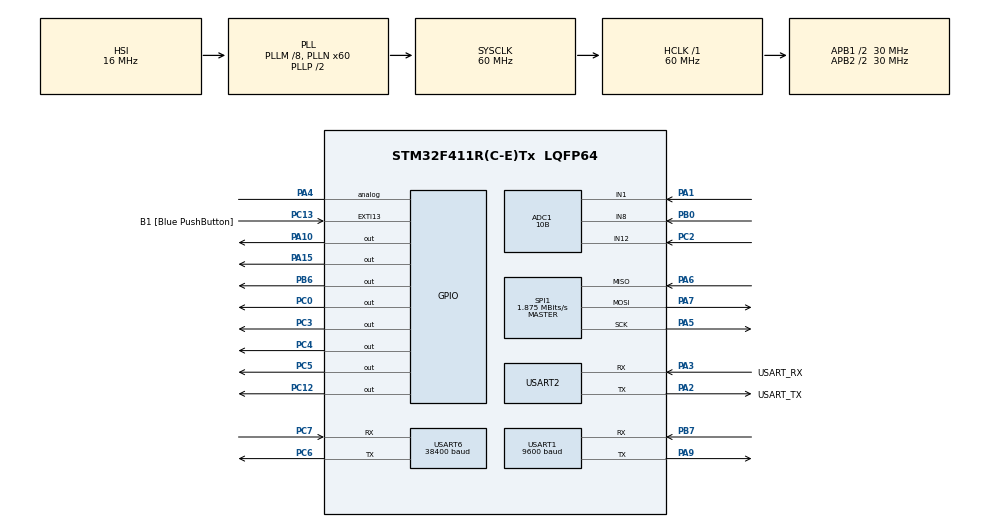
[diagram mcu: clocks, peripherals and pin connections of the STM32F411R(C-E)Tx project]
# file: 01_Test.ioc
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ADC1.Channel-1\#ChannelRegularConversion=ADC_CHANNEL_1
ADC1.NbrOfConversionFlag=1
ADC1.Rank-1\#ChannelRegularConversion=1
ADC1.Resolution=ADC_RESOLUTION_10B
ADC1.SamplingTime-1\#ChannelRegularConversion=ADC_SAMPLETIME_3CYCLES
ADC1.master=1
Mcu.Family=STM32F4
Mcu.Name=STM32F411R(C-E)Tx
Mcu.Package=LQFP64
NVIC.PriorityGroup=NVIC_PRIORITYGROUP_4
NVIC.RTC_WKUP_IRQn=true\:0\:0\:false\:false\:true\:true\:true\:true
NVIC.TIM1_UP_TIM10_IRQn=true\:0\:0\:false\:false\:true\:true\:true\:true
NVIC.TIM5_IRQn=true\:15\:0\:false\:false\:true\:false\:true\:true
NVIC.TimeBase=TIM5_IRQn
NVIC.TimeBaseIP=TIM5
NVIC.USART6_IRQn=true\:0\:0\:true\:false\:true\:true\:true\:true
PA0-WKUP.Signal=ADCx_IN0
PA1.Signal=ADCx_IN1
PA10.GPIO_PuPd=GPIO_PULLUP
PA10.PinState=GPIO_PIN_RESET
PA10.Signal=GPIO_Output
PA13.GPIO_Label=TMS
PA13.Signal=SYS_JTMS-SWDIO
PA14.GPIO_Label=TCK
PA14.Signal=SYS_JTCK-SWCLK
PA15.GPIO_PuPd=GPIO_PULLUP
PA15.PinState=GPIO_PIN_SET
PA15.Signal=GPIO_Output
PA2.GPIO_Label=USART_TX
PA2.Mode=Asynchronous
PA2.Signal=USART2_TX
PA3.GPIO_Label=USART_RX
PA3.Mode=Asynchronous
PA3.Signal=USART2_RX
PA4.Signal=GPIO_Analog
PA5.Mode=Full_Duplex_Master
PA5.Signal=SPI1_SCK
PA6.Mode=Full_Duplex_Master
PA6.Signal=SPI1_MISO
PA7.Mode=Full_Duplex_Master
PA7.Signal=SPI1_MOSI
PA9.Mode=Asynchronous
PA9.Signal=USART1_TX
PB0.Signal=ADCx_IN8
PB3.GPIO_Label=SWO
PB3.Signal=SYS_JTDO-SWO
PB6.Signal=GPIO_Output
PB7.Mode=Asynchronous
PB7.Signal=USART1_RX
PC0.GPIO_PuPd=GPIO_PULLUP
PC0.PinState=GPIO_PIN_SET
PC0.Signal=GPIO_Output
PC12.Signal=GPIO_Output
PC13-ANTI_TAMP.GPIO_Label=B1 [Blue PushButton]
PC13-ANTI_TAMP.GPIO_ModeDefaultEXTI=GPIO_MODE_IT_FALLING
PC13-ANTI_TAMP.Signal=GPXTI13
PC14-OSC32_IN.Mode=LSE-External-Oscillator
PC14-OSC32_IN.Signal=RCC_OSC32_IN
PC15-OSC32_OUT.Mode=LSE-External-Oscillator
PC15-OSC32_OUT.Signal=RCC_OSC32_OUT
PC2.Signal=ADCx_IN12
PC3.GPIO_PuPd=GPIO_PULLUP
PC3.PinState=GPIO_PIN_SET
PC3.Signal=GPIO_Output
PC4.GPIO_PuPd=GPIO_PULLUP
PC4.PinState=GPIO_PIN_RESET
PC4.Signal=GPIO_Output
PC5.GPIO_PuPd=GPIO_PULLUP
PC5.Signal=GPIO_Output
PC6.Mode=Asynchronous
PC6.Signal=USART6_TX
PC7.Mode=Asynchronous
PC7.Signal=USART6_RX
PH0\ -\ OSC_IN.Signal=RCC_OSC_IN
PH1\ -\ OSC_OUT.Signal=RCC_OSC_OUT
ProjectManager.HeapSize=0x200
ProjectManager.StackSize=0x400
ProjectManager.TargetToolchain=STM32CubeIDE
RCC.48MHZClocksFreq_Value=30000000
RCC.AHBFreq_Value=60000000
RCC.APB1CLKDivider=RCC_HCLK_DIV2
RCC.APB1Freq_Value=30000000
RCC.APB1TimFreq_Value=60000000
RCC.APB2CLKDivider=RCC_HCLK_DIV2
RCC.APB2Freq_Value=30000000
RCC.APB2TimFreq_Value=60000000
RCC.CortexFreq_Value=60000000
RCC.FLatency-AdvancedSettings=FLASH_LATENCY_1
RCC.HCLKFreq_Value=60000000
RCC.HSE_VALUE=8000000
RCC.HSI_VALUE=16000000
RCC.PLLM=8
RCC.PLLN=60
RCC.RCC_RTC_Clock_Source=RCC_RTCCLKSOURCE_LSE
RCC.RCC_RTC_Clock_SourceVirtual=RCC_RTCCLKSOURCE_LSE
RCC.SYSCLKFreq_VALUE=60000000
RCC.SYSCLKSource=RCC_SYSCLKSOURCE_PLLCLK
RCC.VCOOutputFreq_Value=120000000
RTC.Date=19
RTC.Hours=12
RTC.Minutes=1
RTC.Month=RTC_MONTH_JUNE
RTC.WakeUpClock=RTC_WAKEUPCLOCK_CK_SPRE_16BITS
RTC.WakeUpCounter=20
RTC.WeekDay=RTC_WEEKDAY_WEDNESDAY
RTC.Year=25
SH.ADCx_IN0.0=ADC1_IN0
SH.ADCx_IN1.0=ADC1_IN1,IN1
SH.ADCx_IN12.0=ADC1_IN12,IN12
SH.ADCx_IN8.0=ADC1_IN8,IN8
SPI1.BaudRatePrescaler=SPI_BAUDRATEPRESCALER_16
SPI1.CalculateBaudRate=1.875 MBits/s
SPI1.Direction=SPI_DIRECTION_2LINES
SPI1.Mode=SPI_MODE_MASTER
SPI1.VirtualType=VM_MASTER
TIM1.Period=2000-1
TIM1.Prescaler=60000
TIM1.TIM_MasterOutputTrigger=TIM_TRGO_UPDATE
TIM2.Period=0xffff
TIM2.Prescaler=60-1
USART1.BaudRate=9600
USART1.VirtualMode=VM_ASYNC
USART2.VirtualMode=VM_ASYNC
USART6.BaudRate=38400
USART6.VirtualMode=VM_ASYNC
VP_FATFS_VS_Generic.Mode=User_defined
VP_RTC_VS_RTC_Activate.Mode=RTC_Enabled
VP_RTC_VS_RTC_WakeUp_intern.Mode=WakeUp
VP_SYS_VS_tim5.Mode=TIM5
VP_TIM1_VS_ClockSourceINT.Mode=Internal
VP_TIM2_VS_ClockSourceINT.Mode=Internal
board=NUCLEO-F411RE

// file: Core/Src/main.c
/* USER CODE BEGIN Header */
	/**
	  ******************************************************************************
	  * @file           : main.c
	  * @brief          : Main program body
	  ******************************************************************************
	  * @attention
	  *
	  * Copyright (c) 2025 STMicroelectronics.
	  * All rights reserved.
	  *
	  * This software is licensed under terms that can be found in the LICENSE file
	  * in the root directory of this software component.
	  * If no LICENSE file comes with this software, it is provided AS-IS.
	  *
	  *
	  *
	  ******************************************************************************
	  */
/* USER CODE END Header */
#include "main.h"
#include "fatfs.h"

/* USER CODE BEGIN Includes */
	#include "FreeRTOS.h"
	#include "task.h"
	#include "event_groups.h"
	#include "queue.h"
	#include "semphr.h"
	#include "timers.h"

	#include "ds18b20.h"
	#include "File_Handling_RTOS.h"

	/* C Standard Libraries */
	#include <stdio.h>
	#include <string.h>
	#include <stdbool.h>
	#include <stdint.h>
	#include <inttypes.h>
	#include <math.h>
	#include <time.h>
	#include <stdlib.h>

	extern ADC_HandleTypeDef hadc1;
	extern UART_HandleTypeDef huart2;
	extern UART_HandleTypeDef huart1;
/* USER CODE END Includes */

/* USER CODE BEGIN PD */
	#define UART_BUFFER_SIZE 64  // Adjust based on expected UART message length
	#define DEFAULT_SLEEP_TIME 30  // seconds — TODO: change to 1 hour (3600) before deployment

	#define PUMP1        			GPIOC, GPIO_PIN_3
	#define PUMP3       			GPIOA, GPIO_PIN_15
	#define PUMP2         			GPIOC, GPIO_PIN_0
	#define pH_POWER     			GPIOC, GPIO_PIN_4
	#define Temp_POWER      		GPIOC, GPIO_PIN_5

	#define EA_RELAY_GPIO           GPIOC, GPIO_PIN_12

	#define PUMP1_DURATION     		45000
	#define SENSOR_ON_DURATION_MS   3000
	#define PUMP2_DURATION     		45000
	#define PUMP3_DURATION        	5000

	#define BKP_REG_SYNC_FLAG RTC_BKP_DR1
	#define RTC_SYNC_MAGIC    0x32F2  // Arbitrary unique value

	#define MAX_RETRIES 5
	#define ACK_TIMEOUT_MS 60000  // 1 minute
	#define ACK_BUFFER_SIZE 100

	// EA Threshold Levels (can be tuned or loaded from config later)
	#define LEVEL_0 1000
	#define LEVEL_1 2000
	#define LEVEL_2 3000
	#define LEVEL_3 4000
	#define LEVEL_4 5000
	#define LEVEL_5 6000

	#define ACK_TIMEOUT_MS 60000  // 1 minute

	#define MAX_READINGS 3
	typedef struct {

	    char timestamp[25];   // ISO string
	    float temp;
	    float ph;
	    float do_val;
	    int batt;
	    uint8_t index;
	} SensorReading;

/* USER CODE END PD */

ADC_HandleTypeDef hadc1;

RTC_HandleTypeDef hrtc;

SPI_HandleTypeDef hspi1;

TIM_HandleTypeDef htim1;
TIM_HandleTypeDef htim2;

UART_HandleTypeDef huart1;
UART_HandleTypeDef huart2;
UART_HandleTypeDef huart6;

/* USER CODE BEGIN PV */
	/* RTOS Task Handles */
	TaskHandle_t xMainTask;
	TaskHandle_t RcvTask;
	TaskHandle_t xBoot;
	TaskHandle_t xTX_Task;
	/* RTOS Synchronization Objects */

	SemaphoreHandle_t xLowPowerSemaphore;
	SemaphoreHandle_t xRtcUpdateSemaphore;
	SemaphoreHandle_t xAckSemaphore;
	SemaphoreHandle_t xMainTaskSemaphore;
	/* Sensor Data (Raw + Processed) */
	uint32_t adc_raw_ph = 0, adc_raw_do = 0;
	uint32_t ph_v = 0, ph_cv = 0;
	uint32_t do_v = 0, do_cv = 0;

	float temp = 0.0f;
	float ph_scaled = 0.0f, do_scaled = 0.0f;

	/* Battery Monitoring */
	uint16_t Batt_raw = 0;

	/* Sleep Time (EA behavior control) */
	uint16_t sleep_time = DEFAULT_SLEEP_TIME;

	/* EA Threshold Levels (can be tuned or loaded from config later) */
	int16_t Level_0 = 1000, Level_1 = 2000, Level_2 = 3000;
	int16_t Level_3 = 4000, Level_4 = 5000, Level_5 = 6000;

	/* UART RX Variables */
	char gps_buffer[256] = {0};  // Buffer for GPS data
	char uart_rx_buffer[UART_BUFFER_SIZE] = {0};
	char uart_rx_char = 0;
	uint16_t uart_rx_index = 0;
	uint8_t newline_count = 0;
	char uart_buf[128] = {0};  // General TX buffer (printf, debug)
	volatile bool uartWakeupFlag = false;

	uint32_t Read_ADC_Channel(uint32_t channel);
	bool ack_received = false;

	int sleep_lvl = 0; // Sleep level for EA behavior control

	SensorReading readings[6] = {0};  // Array to hold sensor readings
	uint16_t reading_ids[6];  // Parallel array to track global_id per reading
	uint8_t current_index = 0;  // increments after each set
	uint16_t global_id = 0;
	uint8_t resend_indexes[6] = {0};

	volatile bool resend_requested = false;
	volatile uint8_t tx_type_override = 0;  // 0 = type:0 (normal), 3 = type:3 (resend)
/* USER CODE END PV */

void SystemClock_Config(void);
static void MX_GPIO_Init(void);
static void MX_ADC1_Init(void);
static void MX_RTC_Init(void);
static void MX_USART2_UART_Init(void);
static void MX_TIM2_Init(void);
static void MX_TIM1_Init(void);
static void MX_SPI1_Init(void);
static void MX_USART6_UART_Init(void);
static void MX_USART1_UART_Init(void);
/* USER CODE BEGIN PFP */
	static void ParseGPSAndSetRTC(void);
	static void MainTask_handle(void*parameters);
	static void Receive_Task(void* parameters);
	static void BootTask(void *params);
	static void get_timestamp(char* buffer);
	static void PrintGPSTimeFormatted(void);
//	static void WaitForACKOrRetry(void);

/* USER CODE END PFP */

/* USER CODE BEGIN 0 */
	void MainTask_handle(void*parameters)
	{
		while(1)
		{
			if (xSemaphoreTake(xMainTaskSemaphore, portMAX_DELAY) == pdTRUE)
			{
//				// Reset the semaphore for next use
//				xSemaphoreTake(xMainTaskSemaphore, 0);
//
//				// Initialize variables
//				uint32_t Batt_raw = 0;
//				uint16_t sleep_time = DEFAULT_SLEEP_TIME;
//
//				// Initialize readings array
//				memset(readings, 0, sizeof(readings));
//				memset(reading_ids, 0, sizeof(reading_ids));
//				current_index = 0;
//				global_id = 0;

					// Print start message
				printf("Program Start \n");

				//Turn Pin LOW PC12  | EA GPIO RELAY MODULE
				HAL_GPIO_WritePin(EA_RELAY_GPIO , GPIO_PIN_RESET);  // PC12: LOW
				vTaskDelay(pdMS_TO_TICKS(200));

				//READ BATTERY LEVEL
				//Batt_raw = Read_ADC_Channel(ADC_CHANNEL_0); //TODO CHANGE
				Batt_raw = 2000;
				HAL_GPIO_WritePin(EA_RELAY_GPIO , GPIO_PIN_SET);

				//INSERT TABLE BELOW
				if (Batt_raw < Level_0 )// 0-10%
				{
					printf("Battery Level: 0-10%%\n");
					//todo UART Transmit Low battery %d Batt_raw
					sleep_time = 30; // 30 seconds in seconds

					//HAL_UART_Transmit(&huart6, (uint8_t *)"Low Battery Detected, Entering Low Power Mode\n", 44, HAL_MAX_DELAY);
					xSemaphoreGive(xLowPowerSemaphore); // Signal low power mode
					vTaskDelay(pdMS_TO_TICKS(10000)); // Delay to allow Task Block to low power mode.
				}
				else {

					if (Batt_raw < Level_1) {// 10-20%
						sleep_time = 60; // 6 hours in seconds
						printf("Battery Level: 10-20%%\n");
						//todo SET SLEEP_TIME to 6 hours
					}else if (Batt_raw < Level_2) {
						//set wakeup timer to Every 4 hours
						sleep_time = 14400; // 4 hours in seconds
						printf("Battery Level: 20-30%%\n");

					}else if (Batt_raw < Level_3) {
						//set wakeup timer to Every 2 hours
						sleep_time = 7200; // 2 hours in seconds
						printf("Battery Level: 30-40%%\n");

					}else if (Batt_raw < Level_4) {
						//set wakeup timer to Every 1 hour
						sleep_time = 3600; // 1 hour in seconds
						printf("Battery Level: 40-50%%\n");

					}

					// Turn everything ON
					printf("PUMP ON\n");
					HAL_GPIO_WritePin(PUMP1, GPIO_PIN_RESET);  // PC3: Pump ON

					//vTaskDelay(pdMS_TO_TICKS(PUMP1_DURATION ));  // 90 seconds delay while ON //todo time
					vTaskDelay(pdMS_TO_TICKS(1000 ));

					// Turn Pump OFF
					printf("PUMP OFF, SENSORS ON\n");
					HAL_GPIO_WritePin(PUMP1, GPIO_PIN_SET);  // PC3 Pump OFF

					HAL_GPIO_WritePin(pH_POWER, GPIO_PIN_SET);   // PC4: Sensor ON
					HAL_GPIO_WritePin(Temp_POWER, GPIO_PIN_SET);   // PC5: Sensor ON
					vTaskDelay(pdMS_TO_TICKS(1000));  // 60 seconds delay while pump is OFF //todo time

					// Read Sensors
					printf("GETTING DATA\n");

					for (int i = 0; i < MAX_READINGS; i++) {
					    SensorReading r;

					    get_timestamp(r.timestamp); // Your timestamp function
					    r.temp = Temperature_Read();
					    r.ph = Read_ADC_Channel(ADC_CHANNEL_8)/100; //todo
					    r.do_val = Read_ADC_Channel(ADC_CHANNEL_1)/100; //todo
					    r.batt = 80; //todo
					    r.index = i + 1; // Index starts from 1

					    readings[i] = r;
					    reading_ids[i] = global_id++;

					    snprintf(uart_buf, sizeof(uart_buf),
					             "type:0,id:%04d,time:%s,temp:%.2f,ph:%.2f,do:%05.2f,batt:%02d,ind:%d\r\n",
					             reading_ids[i], r.timestamp, r.temp, r.ph, r.do_val, r.batt, r.index);

					    Mount_SD("/");
					    Update_File("LOGS.TXT", uart_buf);
					    Unmount_SD("/");

					    vTaskDelay(pdMS_TO_TICKS(1000));
					}
					xTaskNotifyGive(xTX_Task);

					printf("SENSORS OFF\n");
					HAL_GPIO_WritePin(pH_POWER, GPIO_PIN_RESET);   // PC4: Sensor OFF
					HAL_GPIO_WritePin(Temp_POWER, GPIO_PIN_RESET);   // PC5: Sensor OFF

					printf("Dispose \n ");
					HAL_GPIO_WritePin(PUMP2, GPIO_PIN_RESET);  // PC0: Pump ON
					vTaskDelay(pdMS_TO_TICKS(PUMP2_DURATION));//todo time

					printf("StartClean \n");
					HAL_GPIO_WritePin(PUMP3, GPIO_PIN_RESET);  // PA15: Pump ON
					vTaskDelay(pdMS_TO_TICKS(2000)); //todo time

					printf("StopClean\n");
					HAL_GPIO_WritePin(PUMP3, GPIO_PIN_SET);  // PA15: Pump OFF
					vTaskDelay(pdMS_TO_TICKS(2000));

					printf("StopDispose \n");
					HAL_GPIO_WritePin(PUMP2, GPIO_PIN_SET);  // PC0: Pump OFF
					vTaskDelay(pdMS_TO_TICKS(200)); //todo time
					xSemaphoreGive(xLowPowerSemaphore);
					vTaskDelay(pdMS_TO_TICKS(5000)); //ADDED 10 seconds delay before next cycle
				}
			}
		}
	}

	void TX_Task(void *params)//----------------------------------------------------------------------------------------------------//
	{
	    char tx_buf[256];
	    const TickType_t ack_timeout = pdMS_TO_TICKS(30000);  // 60 seconds
	    const TickType_t poll_interval = pdMS_TO_TICKS(100);  // 100ms polling interval

	    for (;;)
	    {
	        // Wait for initial trigger (from MainTask or Receive_Task)
	        ulTaskNotifyTake(pdTRUE, portMAX_DELAY);

	        BaseType_t ack_received = pdFALSE;
	        int retry = 0;

	        while (retry < MAX_RETRIES)
	        {
	            resend_requested = false;

	            // Decide what to send
	            bool send_all = true;
	            for (int k = 1; k <= MAX_READINGS; k++) {
	                if (resend_indexes[k - 1] != 0) {
	                    send_all = false;
	                    break;
	                }
	            }

	            // Transmit selected readings
	            for (int i = 0; i < MAX_READINGS; i++) {
	                if (!send_all && resend_indexes[i] == 0)
	                    continue;

	                SensorReading r = readings[i];
	                uint16_t id = reading_ids[i];

	                const char* tx_type_str = (tx_type_override == 3) ? "type:3" : "type:0";

	                snprintf(tx_buf, sizeof(tx_buf),
	                         "%s,id:%04d,time:%s,temp:%.2f,ph:%.2f,do:%.2f,batt:%02d,ind:%d",
	                         tx_type_str, id, r.timestamp, r.temp, r.ph, r.do_val, r.batt, r.index);
	                HAL_UART_Transmit(&huart6, (uint8_t *)tx_buf, strlen(tx_buf), HAL_MAX_DELAY);
	                printf("%s \n", tx_buf);
	                vTaskDelay(pdMS_TO_TICKS(5000));  // Delay between packets
	            }

	            // Wait for ACK or Resend (with resettable timeout)
	            TickType_t wait_start = xTaskGetTickCount();

	            while ((xTaskGetTickCount() - wait_start) < ack_timeout)
	            {
	                if (xSemaphoreTake(xAckSemaphore, poll_interval) == pdTRUE) {
	                    printf("ACK received. Proceeding to STOP mode.\n");

	                    ack_received = pdTRUE;
	                    break;
	                }

	                if (resend_requested) {
	                    printf("Resend request received. Resetting ACK timer.\n");
	                    resend_requested = false;
	                    wait_start = xTaskGetTickCount();  // 🔁 Reset timeout window
	                    break;  // Re-enter transmission loop with updated resend_indexes[]
	                }
	            }

	            if (ack_received) {
	                break;  // ACK success → exit retry loop
	            }

	            retry++;
	            printf("No ACK. Retrying attempt %d...\n", retry);
	        }

	        if (!ack_received) {
	            printf("[TX_Task] Failed after %d attempts. Forcing STOP mode.\n", MAX_RETRIES);
	            xSemaphoreGive(xLowPowerSemaphore);
	        }

	        // Reset resend tracking after transmission session
	        memset(resend_indexes, 0, sizeof(resend_indexes));
	        tx_type_override = 0;
	    }
	}

	void Receive_Task(void *argument)
	{
	    for (;;)
	    {
	        if (xSemaphoreTake(xRtcUpdateSemaphore, portMAX_DELAY) == pdTRUE)
	        {
	            // Ensure buffer is null-terminated
	            uart_rx_buffer[UART_BUFFER_SIZE - 1] = '\0';

	            // Strip newlines or carriage return
	            for (int i = 0; i < UART_BUFFER_SIZE; i++) {
	                if (uart_rx_buffer[i] == '\r' || uart_rx_buffer[i] == '\n') {
	                    uart_rx_buffer[i] = '\0';
	                    break;
	                }
	            }

	            if (strstr((char*)uart_rx_buffer, "type:1") != NULL)
	            {
	                printf("received (type 1)\n");

	                if (xBoot != NULL) {
	                    vTaskDelete(xBoot);
	                    xBoot = NULL;
	                    xSemaphoreGive(xMainTaskSemaphore); // Signal MainTask to start
	                }

	                else {
	                    printf("ack rcvd");
	                    // Signal TX task that ACK has been received
						xSemaphoreGive(xAckSemaphore);
	                }

	            }
	            else if (strstr((char*)uart_rx_buffer, "type:2") != NULL)
	            {
	                printf("Type 2 message — TODO\n");
	            }
	            else if (strstr((char*)uart_rx_buffer, "type:3") != NULL)
	            {
	                memset(resend_indexes, 0, sizeof(resend_indexes));
	                tx_type_override = 3;  // <-- set flag

	                char *ind_str = strstr(uart_rx_buffer, "ind:");
	                if (ind_str) {
	                    ind_str += 4;
	                    char *token = strtok(ind_str, ",");
	                    while (token != NULL) {
	                        int idx = atoi(token);
	                        if (idx >= 1 && idx <= MAX_READINGS) {
	                            resend_indexes[idx - 1] = 1;  // fix index offset
	                        }
	                        token = strtok(NULL, ",");
	                    }

	                    resend_requested = true;
	                    xTaskNotifyGive(xTX_Task);
	                }
	            }

	            else
	            {
	                printf("Unknown type\n");
	            }

	            // Reset buffer
	            memset(uart_rx_buffer, 0, UART_BUFFER_SIZE);
	            uart_rx_index = 0;
	            newline_count = 0;

	            HAL_UART_Receive_IT(&huart6, (uint8_t*)&uart_rx_char, 1);
	        }
	    }
	}

	void BootTask(void *params) {

		for(;;){
			//ParseGPSAndSetRTC();
			PrintGPSTimeFormatted();
			Batt_raw = Read_ADC_Channel(ADC_CHANNEL_0); // Read battery voltage from ADC channel 0
			if (Batt_raw < Level_0 ) {// 0-10%
				printf("Battery Level: 0-10%%\n");
				//todo UART Transmit Low battery %d Batt_raw
				sleep_time = 30; // 30 seconds in seconds
				sleep_lvl = 6;
			}
			else if (Batt_raw < Level_1) {// 10-20%
				sleep_time = 60; // 6 hours in seconds
				sleep_lvl = 6;
				printf("Battery Level: 10-20%%\n");

			}else if (Batt_raw < Level_2) {
				//set wakeup timer to Every 4 hours
				sleep_time = 14400; // 4 hours in seconds
				printf("Battery Level: 20-30%%\n");
				sleep_lvl = 2;
			}else if (Batt_raw < Level_3) {
				//set wakeup timer to Every 2 hours
				sleep_time = 7200; // 2 hours in seconds
				printf("Battery Level: 30-40%%\n");
				sleep_lvl = 2;
			}else {
				//set wakeup timer to Every 1 hour
				sleep_time = 3600; // 1 hour in seconds
				sleep_lvl = 1;
				printf("Battery Level: 40-50%%\n");
				}
			char timestamp[32] = {0};
			get_timestamp(timestamp);  // Must return "YYYY-MM-DDTHH:MM:SS+08:00"
			//Transmit the Wakeuptime via UART6
			snprintf(uart_buf, sizeof(uart_buf), "type:4,time:%s,awc:%d",timestamp, sleep_lvl);
			HAL_UART_Transmit(&huart6, (uint8_t *)uart_buf, strlen(uart_buf), HAL_MAX_DELAY);
			printf("Waiting..\n");
			vTaskDelay(pdMS_TO_TICKS(60000)); // Wait 1 minute before continuing

	    // Continue regardless of ACK status
		}
	}

/* USER CODE END 0 */

int main(void)
{

  /* MCU Configuration--------------------------------------------------------*/

  /* Reset of all peripherals, Initializes the Flash interface and the Systick. */
  HAL_Init();

  /* Configure the system clock */
  SystemClock_Config();

  /* Initialize all configured peripherals */
  MX_GPIO_Init();
  MX_ADC1_Init();
  MX_RTC_Init();
  MX_USART2_UART_Init();
  MX_TIM2_Init();
  MX_TIM1_Init();
  MX_FATFS_Init();
  MX_SPI1_Init();
  MX_USART6_UART_Init();
  MX_USART1_UART_Init();
  /* USER CODE BEGIN 2 */
//  	  HAL_NVIC_SetPriority(USART6_IRQn, 5, 0); // Set USART6 interrupt priority
//  	  HAL_NVIC_EnableIRQ(USART6_IRQn);
//	  Mount_SD("/");
//	  Format_SD();
//	  Create_File("LOGS.TXT");
//	  Unmount_SD("/");

	  HAL_TIM_Base_Start(&htim1); // periodic delay timer for SD Card
	  HAL_TIM_Base_Start(&htim2); // Timer for Temp

//	  xTaskCreate(MainTask_handle, "Main-Task", 1000, NULL, 3,  &xMainTask);
//	  configASSERT(xMainTask != NULL);
	  xTaskCreate(BootTask, "Boot", 1024, NULL, 2, &xBoot); // Priority 3
	  configASSERT(BootTask != NULL);
	  xTaskCreate(Receive_Task, "Receive_Handle", 500, NULL, 5, &RcvTask);
	  configASSERT(RcvTask != NULL);
	  xTaskCreate(MainTask_handle, "Main-Task", 1000, NULL, 3, &xMainTask);
	  configASSERT(xMainTask != NULL);
	  xTaskCreate(TX_Task, "TX-Task", 1024, NULL, 1, &xTX_Task);
	  configASSERT(xTX_Task != NULL);
	  HAL_UART_Receive_IT(&huart6, (uint8_t *)&uart_rx_char, 1);
	  // Create binary semaphore for UART transmission
	  xLowPowerSemaphore = xSemaphoreCreateBinary();
	  configASSERT(xLowPowerSemaphore != NULL);
	  xRtcUpdateSemaphore = xSemaphoreCreateBinary();
	  configASSERT(xRtcUpdateSemaphore != NULL);

	  xMainTaskSemaphore = xSemaphoreCreateBinary();
	  configASSERT(xMainTaskSemaphore != NULL);
	  xAckSemaphore = xSemaphoreCreateBinary();
	  configASSERT(xAckSemaphore != NULL);
	  vTaskStartScheduler();
  /* USER CODE END 2 */

  /* Infinite loop */
	  while (1)
	  {

	  }
}

void SystemClock_Config(void)
{
  RCC_OscInitTypeDef RCC_OscInitStruct = {0};
  RCC_ClkInitTypeDef RCC_ClkInitStruct = {0};

  /** Configure the main internal regulator output voltage
  */
  __HAL_RCC_PWR_CLK_ENABLE();
  __HAL_PWR_VOLTAGESCALING_CONFIG(PWR_REGULATOR_VOLTAGE_SCALE1);

  /** Initializes the RCC Oscillators according to the specified parameters
  * in the RCC_OscInitTypeDef structure.
  */
  RCC_OscInitStruct.OscillatorType = RCC_OSCILLATORTYPE_HSI|RCC_OSCILLATORTYPE_LSE;
  RCC_OscInitStruct.LSEState = RCC_LSE_ON;
  RCC_OscInitStruct.HSIState = RCC_HSI_ON;
  RCC_OscInitStruct.HSICalibrationValue = RCC_HSICALIBRATION_DEFAULT;
  RCC_OscInitStruct.PLL.PLLState = RCC_PLL_ON;
  RCC_OscInitStruct.PLL.PLLSource = RCC_PLLSOURCE_HSI;
  RCC_OscInitStruct.PLL.PLLM = 8;
  RCC_OscInitStruct.PLL.PLLN = 60;
  RCC_OscInitStruct.PLL.PLLP = RCC_PLLP_DIV2;
  RCC_OscInitStruct.PLL.PLLQ = 4;
  if (HAL_RCC_OscConfig(&RCC_OscInitStruct) != HAL_OK)
  {
    Error_Handler();
  }

  /** Initializes the CPU, AHB and APB buses clocks
  */
  RCC_ClkInitStruct.ClockType = RCC_CLOCKTYPE_HCLK|RCC_CLOCKTYPE_SYSCLK
                              |RCC_CLOCKTYPE_PCLK1|RCC_CLOCKTYPE_PCLK2;
  RCC_ClkInitStruct.SYSCLKSource = RCC_SYSCLKSOURCE_PLLCLK;
  RCC_ClkInitStruct.AHBCLKDivider = RCC_SYSCLK_DIV1;
  RCC_ClkInitStruct.APB1CLKDivider = RCC_HCLK_DIV2;
  RCC_ClkInitStruct.APB2CLKDivider = RCC_HCLK_DIV2;

  if (HAL_RCC_ClockConfig(&RCC_ClkInitStruct, FLASH_LATENCY_1) != HAL_OK)
  {
    Error_Handler();
  }
}

static void MX_ADC1_Init(void)
{

  ADC_ChannelConfTypeDef sConfig = {0};

  /** Configure the global features of the ADC (Clock, Resolution, Data Alignment and number of conversion)
  */
  hadc1.Instance = ADC1;
  hadc1.Init.ClockPrescaler = ADC_CLOCK_SYNC_PCLK_DIV2;
  hadc1.Init.Resolution = ADC_RESOLUTION_10B;
  hadc1.Init.ScanConvMode = DISABLE;
  hadc1.Init.ContinuousConvMode = DISABLE;
  hadc1.Init.DiscontinuousConvMode = DISABLE;
  hadc1.Init.ExternalTrigConvEdge = ADC_EXTERNALTRIGCONVEDGE_NONE;
  hadc1.Init.ExternalTrigConv = ADC_SOFTWARE_START;
  hadc1.Init.DataAlign = ADC_DATAALIGN_RIGHT;
  hadc1.Init.NbrOfConversion = 1;
  hadc1.Init.DMAContinuousRequests = DISABLE;
  hadc1.Init.EOCSelection = ADC_EOC_SINGLE_CONV;
  if (HAL_ADC_Init(&hadc1) != HAL_OK)
  {
    Error_Handler();
  }

  /** Configure for the selected ADC regular channel its corresponding rank in the sequencer and its sample time.
  */
  sConfig.Channel = ADC_CHANNEL_1;
  sConfig.Rank = 1;
  sConfig.SamplingTime = ADC_SAMPLETIME_3CYCLES;
  if (HAL_ADC_ConfigChannel(&hadc1, &sConfig) != HAL_OK)
  {
    Error_Handler();
  }

}

static void MX_RTC_Init(void)
{

  RTC_TimeTypeDef sTime = {0};
  RTC_DateTypeDef sDate = {0};

  /* USER CODE BEGIN RTC_Init 1 */
  __HAL_RCC_PWR_CLK_ENABLE(); // Enable power interface clock
  HAL_PWR_EnableBkUpAccess();
  /* USER CODE END RTC_Init 1 */

  /** Initialize RTC Only
  */
  hrtc.Instance = RTC;
  hrtc.Init.HourFormat = RTC_HOURFORMAT_24;
  hrtc.Init.AsynchPrediv = 127;
  hrtc.Init.SynchPrediv = 255;
  hrtc.Init.OutPut = RTC_OUTPUT_DISABLE;
  hrtc.Init.OutPutPolarity = RTC_OUTPUT_POLARITY_HIGH;
  hrtc.Init.OutPutType = RTC_OUTPUT_TYPE_OPENDRAIN;
  if (HAL_RTC_Init(&hrtc) != HAL_OK)
  {
    Error_Handler();
  }

  /* USER CODE BEGIN Check_RTC_BKUP */
//	  if (HAL_RTCEx_BKUPRead(&hrtc, RTC_BKP_DR0) != 0x32F2)
//	   {
//		 // First-time setup: set default time & date
//		 sTime.Hours = 12;
//		 sTime.Minutes = 1;
//		 sTime.Seconds = 0;
//		 sTime.DayLightSaving = RTC_DAYLIGHTSAVING_NONE;
//		 sTime.StoreOperation = RTC_STOREOPERATION_RESET;
//
//		 sDate.WeekDay = RTC_WEEKDAY_WEDNESDAY;
//		 sDate.Month = RTC_MONTH_JUNE;
//		 sDate.Date = 19;
//		 sDate.Year = 25;
//
//		 if (HAL_RTC_SetTime(&hrtc, &sTime, RTC_FORMAT_BIN) != HAL_OK)
//		 {
//		   Error_Handler();
//		 }
//
//		 if (HAL_RTC_SetDate(&hrtc, &sDate, RTC_FORMAT_BIN) != HAL_OK)
//		 {
//		   Error_Handler();
//		 }
//
//		 HAL_RTCEx_BKUPWrite(&hrtc, RTC_BKP_DR0, 0x32F2);
//	   }
//	   else
//	   {
//		 // Already initialized; just read existing values
//		 HAL_RTC_GetTime(&hrtc, &sTime, RTC_FORMAT_BIN);
//		 HAL_RTC_GetDate(&hrtc, &sDate, RTC_FORMAT_BIN);
//	   }
  /* USER CODE END Check_RTC_BKUP */

  /** Initialize RTC and set the Time and Date
  */
  sTime.Hours = 0x12;
  sTime.Minutes = 0x1;
  sTime.Seconds = 0x0;
  sTime.DayLightSaving = RTC_DAYLIGHTSAVING_NONE;
  sTime.StoreOperation = RTC_STOREOPERATION_RESET;
  if (HAL_RTC_SetTime(&hrtc, &sTime, RTC_FORMAT_BCD) != HAL_OK)
  {
    Error_Handler();
  }
  sDate.WeekDay = RTC_WEEKDAY_WEDNESDAY;
  sDate.Month = RTC_MONTH_JUNE;
  sDate.Date = 0x19;
  sDate.Year = 0x25;

  if (HAL_RTC_SetDate(&hrtc, &sDate, RTC_FORMAT_BCD) != HAL_OK)
  {
    Error_Handler();
  }

  /** Enable the WakeUp
  */
  if (HAL_RTCEx_SetWakeUpTimer_IT(&hrtc, 20, RTC_WAKEUPCLOCK_CK_SPRE_16BITS) != HAL_OK)
  {
    Error_Handler();
  }

}

static void MX_SPI1_Init(void)
{

  /* SPI1 parameter configuration*/
  hspi1.Instance = SPI1;
  hspi1.Init.Mode = SPI_MODE_MASTER;
  hspi1.Init.Direction = SPI_DIRECTION_2LINES;
  hspi1.Init.DataSize = SPI_DATASIZE_8BIT;
  hspi1.Init.CLKPolarity = SPI_POLARITY_LOW;
  hspi1.Init.CLKPhase = SPI_PHASE_1EDGE;
  hspi1.Init.NSS = SPI_NSS_SOFT;
  hspi1.Init.BaudRatePrescaler = SPI_BAUDRATEPRESCALER_16;
  hspi1.Init.FirstBit = SPI_FIRSTBIT_MSB;
  hspi1.Init.TIMode = SPI_TIMODE_DISABLE;
  hspi1.Init.CRCCalculation = SPI_CRCCALCULATION_DISABLE;
  hspi1.Init.CRCPolynomial = 10;
  if (HAL_SPI_Init(&hspi1) != HAL_OK)
  {
    Error_Handler();
  }

}

static void MX_TIM1_Init(void)
{

  TIM_ClockConfigTypeDef sClockSourceConfig = {0};
  TIM_MasterConfigTypeDef sMasterConfig = {0};

  htim1.Instance = TIM1;
  htim1.Init.Prescaler = 60000;
  htim1.Init.CounterMode = TIM_COUNTERMODE_UP;
  htim1.Init.Period = 2000-1;
  htim1.Init.ClockDivision = TIM_CLOCKDIVISION_DIV1;
  htim1.Init.RepetitionCounter = 0;
  htim1.Init.AutoReloadPreload = TIM_AUTORELOAD_PRELOAD_DISABLE;
  if (HAL_TIM_Base_Init(&htim1) != HAL_OK)
  {
    Error_Handler();
  }
  sClockSourceConfig.ClockSource = TIM_CLOCKSOURCE_INTERNAL;
  if (HAL_TIM_ConfigClockSource(&htim1, &sClockSourceConfig) != HAL_OK)
  {
    Error_Handler();
  }
  sMasterConfig.MasterOutputTrigger = TIM_TRGO_UPDATE;
  sMasterConfig.MasterSlaveMode = TIM_MASTERSLAVEMODE_DISABLE;
  if (HAL_TIMEx_MasterConfigSynchronization(&htim1, &sMasterConfig) != HAL_OK)
  {
    Error_Handler();
  }

}

static void MX_TIM2_Init(void)
{

  TIM_ClockConfigTypeDef sClockSourceConfig = {0};
  TIM_MasterConfigTypeDef sMasterConfig = {0};

  htim2.Instance = TIM2;
  htim2.Init.Prescaler = 60-1;
  htim2.Init.CounterMode = TIM_COUNTERMODE_UP;
  htim2.Init.Period = 0xffff;
  htim2.Init.ClockDivision = TIM_CLOCKDIVISION_DIV1;
  htim2.Init.AutoReloadPreload = TIM_AUTORELOAD_PRELOAD_DISABLE;
  if (HAL_TIM_Base_Init(&htim2) != HAL_OK)
  {
    Error_Handler();
  }
  sClockSourceConfig.ClockSource = TIM_CLOCKSOURCE_INTERNAL;
  if (HAL_TIM_ConfigClockSource(&htim2, &sClockSourceConfig) != HAL_OK)
  {
    Error_Handler();
  }
  sMasterConfig.MasterOutputTrigger = TIM_TRGO_RESET;
  sMasterConfig.MasterSlaveMode = TIM_MASTERSLAVEMODE_DISABLE;
  if (HAL_TIMEx_MasterConfigSynchronization(&htim2, &sMasterConfig) != HAL_OK)
  {
    Error_Handler();
  }

}

static void MX_USART1_UART_Init(void)
{

  huart1.Instance = USART1;
  huart1.Init.BaudRate = 9600;
  huart1.Init.WordLength = UART_WORDLENGTH_8B;
  huart1.Init.StopBits = UART_STOPBITS_1;
  huart1.Init.Parity = UART_PARITY_NONE;
  huart1.Init.Mode = UART_MODE_TX_RX;
  huart1.Init.HwFlowCtl = UART_HWCONTROL_NONE;
  huart1.Init.OverSampling = UART_OVERSAMPLING_16;
  if (HAL_UART_Init(&huart1) != HAL_OK)
  {
    Error_Handler();
  }

}

static void MX_USART2_UART_Init(void)
{

  huart2.Instance = USART2;
  huart2.Init.BaudRate = 115200;
  huart2.Init.WordLength = UART_WORDLENGTH_8B;
  huart2.Init.StopBits = UART_STOPBITS_1;
  huart2.Init.Parity = UART_PARITY_NONE;
  huart2.Init.Mode = UART_MODE_TX_RX;
  huart2.Init.HwFlowCtl = UART_HWCONTROL_NONE;
  huart2.Init.OverSampling = UART_OVERSAMPLING_16;
  if (HAL_UART_Init(&huart2) != HAL_OK)
  {
    Error_Handler();
  }

}

static void MX_USART6_UART_Init(void)
{

  huart6.Instance = USART6;
  huart6.Init.BaudRate = 38400;
  huart6.Init.WordLength = UART_WORDLENGTH_8B;
  huart6.Init.StopBits = UART_STOPBITS_1;
  huart6.Init.Parity = UART_PARITY_NONE;
  huart6.Init.Mode = UART_MODE_TX_RX;
  huart6.Init.HwFlowCtl = UART_HWCONTROL_NONE;
  huart6.Init.OverSampling = UART_OVERSAMPLING_16;
  if (HAL_UART_Init(&huart6) != HAL_OK)
  {
    Error_Handler();
  }
  /* USER CODE BEGIN USART6_Init 2 */
  HAL_NVIC_SetPriority(USART6_IRQn, 5, 0);
  HAL_NVIC_EnableIRQ(USART6_IRQn);
  /* USER CODE END USART6_Init 2 */

}

static void MX_GPIO_Init(void)
{
  GPIO_InitTypeDef GPIO_InitStruct = {0};

  /* GPIO Ports Clock Enable */
  __HAL_RCC_GPIOC_CLK_ENABLE();
  __HAL_RCC_GPIOH_CLK_ENABLE();
  __HAL_RCC_GPIOA_CLK_ENABLE();
  __HAL_RCC_GPIOB_CLK_ENABLE();

  /*Configure GPIO pin Output Level */
  HAL_GPIO_WritePin(GPIOC, GPIO_PIN_0|GPIO_PIN_3, GPIO_PIN_SET);

  /*Configure GPIO pin Output Level */
  HAL_GPIO_WritePin(GPIOC, GPIO_PIN_4|GPIO_PIN_5|GPIO_PIN_12, GPIO_PIN_RESET);

  /*Configure GPIO pin Output Level */
  HAL_GPIO_WritePin(GPIOA, GPIO_PIN_10, GPIO_PIN_RESET);

  /*Configure GPIO pin Output Level */
  HAL_GPIO_WritePin(GPIOA, GPIO_PIN_15, GPIO_PIN_SET);

  /*Configure GPIO pin Output Level */
  HAL_GPIO_WritePin(GPIOB, GPIO_PIN_6, GPIO_PIN_RESET);

  /*Configure GPIO pin : B1_Pin */
  GPIO_InitStruct.Pin = B1_Pin;
  GPIO_InitStruct.Mode = GPIO_MODE_IT_FALLING;
  GPIO_InitStruct.Pull = GPIO_NOPULL;
  HAL_GPIO_Init(B1_GPIO_Port, &GPIO_InitStruct);

  /*Configure GPIO pins : PC0 PC3 PC4 PC5 */
  GPIO_InitStruct.Pin = GPIO_PIN_0|GPIO_PIN_3|GPIO_PIN_4|GPIO_PIN_5;
  GPIO_InitStruct.Mode = GPIO_MODE_OUTPUT_PP;
  GPIO_InitStruct.Pull = GPIO_PULLUP;
  GPIO_InitStruct.Speed = GPIO_SPEED_FREQ_LOW;
  HAL_GPIO_Init(GPIOC, &GPIO_InitStruct);

  /*Configure GPIO pin : PA4 */
  GPIO_InitStruct.Pin = GPIO_PIN_4;
  GPIO_InitStruct.Mode = GPIO_MODE_ANALOG;
  GPIO_InitStruct.Pull = GPIO_NOPULL;
  HAL_GPIO_Init(GPIOA, &GPIO_InitStruct);

  /*Configure GPIO pins : PA10 PA15 */
  GPIO_InitStruct.Pin = GPIO_PIN_10|GPIO_PIN_15;
  GPIO_InitStruct.Mode = GPIO_MODE_OUTPUT_PP;
  GPIO_InitStruct.Pull = GPIO_PULLUP;
  GPIO_InitStruct.Speed = GPIO_SPEED_FREQ_LOW;
  HAL_GPIO_Init(GPIOA, &GPIO_InitStruct);

  /*Configure GPIO pin : PC12 */
  GPIO_InitStruct.Pin = GPIO_PIN_12;
  GPIO_InitStruct.Mode = GPIO_MODE_OUTPUT_PP;
  GPIO_InitStruct.Pull = GPIO_NOPULL;
  GPIO_InitStruct.Speed = GPIO_SPEED_FREQ_LOW;
  HAL_GPIO_Init(GPIOC, &GPIO_InitStruct);

  /*Configure GPIO pin : PB6 */
  GPIO_InitStruct.Pin = GPIO_PIN_6;
  GPIO_InitStruct.Mode = GPIO_MODE_OUTPUT_PP;
  GPIO_InitStruct.Pull = GPIO_NOPULL;
  GPIO_InitStruct.Speed = GPIO_SPEED_FREQ_LOW;
  HAL_GPIO_Init(GPIOB, &GPIO_InitStruct);

  /* USER CODE BEGIN MX_GPIO_Init_2 */

  // USART6_RX = PC7
  GPIO_InitStruct.Pin = GPIO_PIN_7;
  GPIO_InitStruct.Mode = GPIO_MODE_AF_PP;     // Alternate Function Push-Pull
  GPIO_InitStruct.Pull = GPIO_PULLUP;         // Needed to ensure falling edge on idle->start bit
  GPIO_InitStruct.Speed = GPIO_SPEED_FREQ_LOW;
  GPIO_InitStruct.Alternate = GPIO_AF8_USART6;
  HAL_GPIO_Init(GPIOC, &GPIO_InitStruct);

  // Reconfigure PC7 as EXTI line for wake-up
  GPIO_InitStruct.Mode = GPIO_MODE_IT_FALLING;
  GPIO_InitStruct.Pull = GPIO_PULLUP;
  HAL_GPIO_Init(GPIOC, &GPIO_InitStruct);

  // Enable EXTI line for PC7

  /* USER CODE END MX_GPIO_Init_2 */
}

/* USER CODE BEGIN 4 */

	//TODO

	void HAL_UART_RxCpltCallback(UART_HandleTypeDef *huart) {
		if (huart->Instance == USART6) {
			if (uart_rx_char == '\n' || uart_rx_char == '\r') {
				newline_count++;
				if (newline_count >= 1) {  // 1 line message
					uart_rx_buffer[uart_rx_index] = '\0';  // Null-terminate

					BaseType_t xHigherPriorityTaskWoken = pdFALSE;
					xSemaphoreGiveFromISR(xRtcUpdateSemaphore, &xHigherPriorityTaskWoken);
					portYIELD_FROM_ISR(xHigherPriorityTaskWoken);

					return;  // Don't restart reception here, let task do it
				}
			} else if (uart_rx_index < UART_BUFFER_SIZE - 1) {
				uart_rx_buffer[uart_rx_index++] = uart_rx_char;
			} else {
				uart_rx_index = 0;  // Overflow protection
			}

			HAL_UART_Receive_IT(&huart6, (uint8_t*)&uart_rx_char, 1);
		}
	}
	void get_timestamp(char* buffer)
	{
	    RTC_DateTypeDef sDate;
	    RTC_TimeTypeDef sTime;
	    HAL_RTC_GetDate(&hrtc, &sDate, RTC_FORMAT_BIN);
	    HAL_RTC_GetTime(&hrtc, &sTime, RTC_FORMAT_BIN);

	    sprintf(buffer, "2025-%02d-%02dT%02d:%02d:%02d+08:00",
	            sDate.Month, sDate.Date,
	            sTime.Hours, sTime.Minutes, sTime.Seconds);
	}
	void ParseGPSAndSetRTC(void) {

	    char *token;
	    RTC_TimeTypeDef sTime = {0};
	    RTC_DateTypeDef sDate = {0};
	    printf("Parsing GPS data to RTC...\n");

	    uint32_t startTick = HAL_GetTick();
	    uint32_t timeout_ms = 5000;  // 5 seconds
	    uint16_t gps_index = 0;
	    gps_buffer[0] = '\0';

	    // Step 1: Read character-by-character with timeout

	    while ((HAL_GetTick() - startTick) < timeout_ms && gps_index < sizeof(gps_buffer) - 1) {
	        uint8_t byte;
	        HAL_StatusTypeDef status = HAL_UART_Receive(&huart1, &byte, 1, 50); // Short timeout

	        if (status == HAL_OK) {
	            gps_buffer[gps_index++] = byte;

	            if (byte == '\n') break;  // End of NMEA sentence
	        } else if (status == HAL_TIMEOUT) {

	        } else {
	            printf("UART Receive error: %d\n", status);
	            break;
	        }
	    }

	    gps_buffer[gps_index] = '\0';

	    if (gps_index == 0) {
	        printf("Timeout: No GPS data received.\n");
	        return;
	    }

	    printf("Received GPS data: %s\n", gps_buffer);

	    // Step 2: Find the $GPRMC sentence
	    char *rmc_ptr = strstr(gps_buffer, "$GPRMC");
	    if (!rmc_ptr) {
	        printf("No GPRMC found\n");
	        return;
	    }

	    // Step 3: Tokenize the sentence
	    token = strtok(rmc_ptr, ","); // $GPRMC
	    token = strtok(NULL, ",");    // Time
	    if (token && strlen(token) >= 6) {
	        char hour_str[3] = {token[0], token[1], '\0'};
	        char min_str[3] = {token[2], token[3], '\0'};
	        char sec_str[3] = {token[4], token[5], '\0'};
	        sTime.Hours = atoi(hour_str);
	        sTime.Minutes = atoi(min_str);
	        sTime.Seconds = atoi(sec_str);
	        sTime.DayLightSaving = RTC_DAYLIGHTSAVING_NONE;
	        sTime.StoreOperation = RTC_STOREOPERATION_RESET;
	    }

	    // Skip next fields until date
	    for (int i = 0; i < 8; i++) token = strtok(NULL, ",");

	    if (token && strlen(token) == 6) {
	        char day_str[3] = {token[0], token[1], '\0'};
	        char month_str[3] = {token[2], token[3], '\0'};
	        char year_str[3] = {token[4], token[5], '\0'};
	        sDate.Date = atoi(day_str);
	        sDate.Month = atoi(month_str);
	        sDate.Year = atoi(year_str); // RTC supports 0–99 for 2000–2099
	    }

	    if (HAL_RTC_SetTime(&hrtc, &sTime, RTC_FORMAT_BIN) == HAL_OK &&
	        HAL_RTC_SetDate(&hrtc, &sDate, RTC_FORMAT_BIN) == HAL_OK) {

	        HAL_RTCEx_BKUPWrite(&hrtc, BKP_REG_SYNC_FLAG, RTC_SYNC_MAGIC);  // Save sync flag
	        printf("RTC set from GPS and sync flag saved.\n");
	    } else {
	        printf("Failed to set RTC from GPS.\n");
	    }

	    printf("RTC initialized to GPS time: %02d:%02d:%02d %02d/%02d/%02d\n",
	           sTime.Hours, sTime.Minutes, sTime.Seconds,
	           sDate.Date, sDate.Month, sDate.Year);
	}

	void PrintGPSTimeFormatted(void) {
	    char line[128] = {0};
	    uint8_t byte;
	    int idx = 0;

	    while (1) {
	        if (HAL_UART_Receive(&huart1, &byte, 1, HAL_MAX_DELAY) == HAL_OK) {
	        	printf("%c", byte); // Print received byte for debugging
	            //HAL_UART_Transmit(&huart2, &byte, 1, HAL_MAX_DELAY); // Debug echo

	            if (byte == '\n') {
	                line[idx] = '\0';

	                if (strstr(line, "$GPRMC")) {
	                    char *token = strtok(line, ","); // $GPRMC
	                    token = strtok(NULL, ",");       // UTC time
	                    if (!token || strlen(token) < 6) { idx = 0; continue; }

	                    int hh = (token[0] - '0') * 10 + (token[1] - '0') + 8; // +8 for timezone
	                    int mm = (token[2] - '0') * 10 + (token[3] - '0');
	                    int ss = (token[4] - '0') * 10 + (token[5] - '0');
	                    if (hh >= 24) hh -= 24; // wrap around midnight UTC+8

	                    token = strtok(NULL, ","); // Status (A/V)
	                    if (token && token[0] == 'A') {

	                        RTC_TimeTypeDef sTime = {0};
	                        RTC_DateTypeDef sDate = {0};

	                        sTime.Hours = hh;
	                        sTime.Minutes = mm;
	                        sTime.Seconds = ss;

	                        // Example fallback date (will be overwritten later if needed)
	                        sDate.Year = 25;
	                        sDate.Month = RTC_MONTH_JULY;
	                        sDate.Date = 22;
	                        sDate.WeekDay = RTC_WEEKDAY_THURSDAY;

	                        // Optional: try parsing date from GPRMC
	                        token = strtok(NULL, ","); // Latitude
	                        token = strtok(NULL, ","); // N/S
	                        token = strtok(NULL, ","); // Longitude
	                        token = strtok(NULL, ","); // E/W
	                        token = strtok(NULL, ","); // Speed
	                        token = strtok(NULL, ","); // Course
	                        token = strtok(NULL, ","); // Date (ddmmyy)
	                        if (token && strlen(token) == 6) {
	                            sDate.Date = (token[0] - '0') * 10 + (token[1] - '0');
	                            sDate.Month = (token[2] - '0') * 10 + (token[3] - '0');
	                            sDate.Year = (token[4] - '0') * 10 + (token[5] - '0');
	                        }

	                        if (HAL_RTC_SetTime(&hrtc, &sTime, RTC_FORMAT_BIN) != HAL_OK) {
	                            Error_Handler();
	                        }

	                        if (HAL_RTC_SetDate(&hrtc, &sDate, RTC_FORMAT_BIN) != HAL_OK) {
	                            Error_Handler();
	                        }

	                        HAL_RTCEx_BKUPWrite(&hrtc, BKP_REG_SYNC_FLAG, RTC_SYNC_MAGIC); // Save sync flag
	                        printf("RTC set from GPS: %02d:%02d:%02d %02d/%02d/%02d\n",
	                               sTime.Hours, sTime.Minutes, sTime.Seconds,
	                               sDate.Date, sDate.Month, sDate.Year);
	                        return; // ✅ Exit after setting RTC
	                    }
	                }

	                idx = 0;
	                memset(line, 0, sizeof(line));
	            } else if (idx < sizeof(line) - 1) {
	                line[idx++] = byte;
	            }
	        }
	    }
	}

	void vPortSuppressTicksAndSleep(TickType_t xExpectedIdleTime)
	{
		if (xSemaphoreTake(xLowPowerSemaphore, 0) == pdPASS)
		{
			printf("Entered low power mode\n");

			if (HAL_RTCEx_SetWakeUpTimer_IT(&hrtc, 60, RTC_WAKEUPCLOCK_CK_SPRE_16BITS) != HAL_OK) //TODO change sleep time
			{
			Error_Handler();
			}
			//---------------------------------------------------------------------------------------------------//

			//---------------------------------------------------------------------------------------------------//
			// Disable SysTick

			SysTick->CTRL &= ~SysTick_CTRL_TICKINT_Msk;

			// Enter critical section
			taskENTER_CRITICAL();
			// Prepare for Stop Mode (clear wakeup flags, etc.)
			__HAL_PWR_CLEAR_FLAG(PWR_FLAG_WU);
			//HAL_PWREx_EnableFlashPowerDown();

			// Enter Stop Mode
			HAL_PWR_EnterSTOPMode(PWR_LOWPOWERREGULATOR_ON, PWR_STOPENTRY_WFI);

			//TODO

			// After wakeup: restore clock
			SystemClock_Config();
			// Re-enable SysTick
			SysTick->CTRL  |= SysTick_CTRL_TICKINT_Msk;

			//---------------------------------------------------------------------------------------------------//

			//---------------------------------------------------------------------------------------------------//
			// Check wakeup source

			printf("Exited low power mode\n");
			HAL_RTCEx_DeactivateWakeUpTimer(&hrtc);
			//HAL_RTCEx_SetWakeUpTimer_IT(&hrtc, 20, RTC_WAKEUPCLOCK_CK_SPRE_16BITS);

			//HAL_PWREx_DisableFlashPowerDown();
			xSemaphoreGive(xMainTaskSemaphore); // Notify main task to continue
			// Exit critical section
			taskEXIT_CRITICAL();

		}
		else
		{
			// Do nothing, let FreeRTOS idle task spin
		}
	}

	uint32_t Read_ADC_Channel(uint32_t channel) {

		ADC_ChannelConfTypeDef sConfig = {
			.Channel = channel,
			.Rank = 1,
			.SamplingTime = ADC_SAMPLETIME_84CYCLES
		};
		HAL_ADC_ConfigChannel(&hadc1, &sConfig);
		HAL_ADC_Start(&hadc1);
		HAL_ADC_PollForConversion(&hadc1, HAL_MAX_DELAY);
		return HAL_ADC_GetValue(&hadc1);
	}

//	void WaitForACKOrRetry(void)
//	{
//	    int retry_count = 0;
//	    BaseType_t ackReceived;
//
//	    while (retry_count < MAX_RETRIES)
//	    {
//	        printf("Waiting for ACK... Attempt %d\n", retry_count + 1);
//
//	        // Start UART interrupt receive
//
//
//	        // Wait for ACK semaphore (set in ISR callback)
//
//
//	        if (xSemaphoreTake(xAckSemaphore, pdMS_TO_TICKS(ACK_TIMEOUT_MS) == pdTRUE))
//	        {
//	            printf("ACK received.\n");
//	            return;  // Success
//	        }
//	        else
//	        {
//	            printf("ACK not received. Retrying...\n");
//
//	            // Retransmit last message
//	            snprintf(uart_buf, sizeof(uart_buf), "Wakeup Time: %d seconds\r\n", sleep_time);
//	            HAL_UART_Transmit(&huart6, (uint8_t *)uart_buf, strlen(uart_buf), HAL_MAX_DELAY);
//	        }
//
//	        retry_count++;
//	    }
//
//	    printf("No ACK after %d attempts. Proceeding...\n", MAX_RETRIES);
//	}
/* USER CODE END 4 */

void HAL_TIM_PeriodElapsedCallback(TIM_HandleTypeDef *htim)
{
  if (htim->Instance == TIM5)
  {
    HAL_IncTick();
  }
}

void Error_Handler(void)
{
	  __disable_irq();
	  while (1)
	  {
	  }
}
